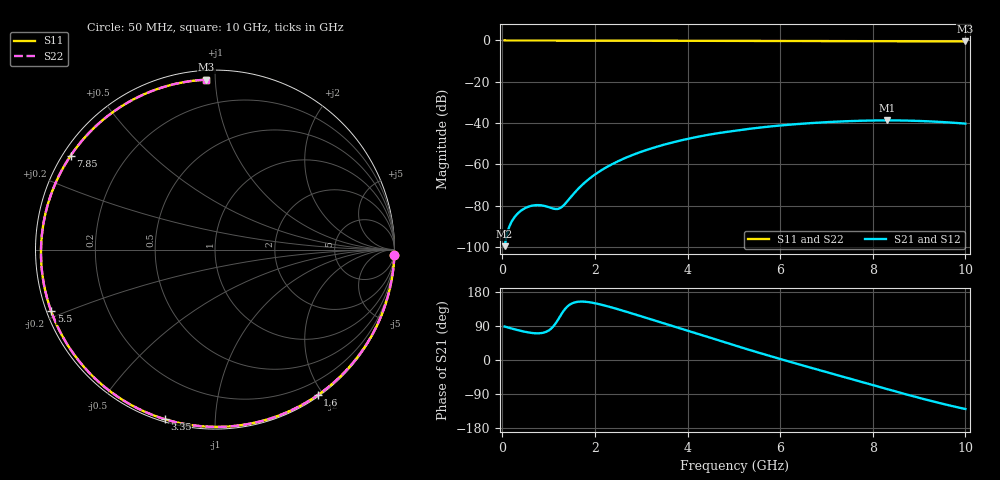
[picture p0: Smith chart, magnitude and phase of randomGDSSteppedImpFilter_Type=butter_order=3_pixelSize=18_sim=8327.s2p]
! freq	dB(S11)	phase(S11)	dB(S12)	phase(S12)
!  dB(S21)	phase(S21)	dB(S22)	phase(S22)
!S-par simulation data
#  GHz  S  DB  R 50
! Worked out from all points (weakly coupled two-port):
!   200 points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, 50 MHz to 10 GHz, reference 50 ohm
!   highest |S21| = -38.74 dB at 8.3 GHz (marker M1); lowest = -99.7 dB at 50 MHz (marker M2)
!   lowest |S11| = -0.5 dB at 10 GHz (marker M3), VSWR 37.43, Z = 2.54 + j47.4 ohm
!   |S11| at or under -10 dB: nowhere
!   |S22| runs from -0.5 to 0.0 dB; largest |S21 - S12| = 0
!   S11 on the Smith chart (normalised r, x): 50 MHz: 0, -64; 1.6 GHz: 0.02, -1.93; 3.35 GHz: 0.01, -0.75; 5.5 GHz: 0.01, -0.18; 7.85 GHz: 0.02, +0.30; 10 GHz: 0.05, +0.95
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0.05  -0.00 -1.8  -99.70 88.3  -99.70 88.3  -0.00 -1.8
0.65  -0.03 -22.9  -80.04 71.2  -80.04 71.2  -0.03 -22.9
1.3  -0.06 -45.0  -80.43 125.5  -80.43 125.5  -0.06 -45.0
1.35  -0.06 -46.7  -79.33 133.9  -79.33 133.9  -0.06 -46.7
1.6  -0.07 -54.8  -72.83 153.0  -72.83 153.0  -0.07 -54.8
1.75  -0.07 -59.7  -69.48 154.1  -69.48 154.1  -0.07 -59.7
2.05  -0.08 -69.1  -64.21 148.5  -64.21 148.5  -0.08 -69.1
2.4  -0.09 -79.7  -59.62 137.4  -59.62 137.4  -0.09 -79.7
2.85  -0.11 -92.8  -55.18 121.0  -55.18 121.0  -0.11 -92.8
3.35  -0.13 -106.6  -51.42 102.0  -51.42 102.0  -0.13 -106.6
3.4  -0.13 -107.9  -51.10 100.1  -51.10 100.1  -0.13 -107.9
4.25  -0.16 -129.8  -46.55 67.7  -46.55 67.7  -0.16 -129.8
5.05  -0.20 -149.0  -43.69 37.4  -43.69 37.4  -0.20 -149.0
5.5  -0.22 -159.4  -42.37 20.6  -42.37 20.6  -0.22 -159.4
6.1  -0.25 -173.1  -41.02 -0.8  -41.02 -0.8  -0.25 -173.1
6.7  -0.29 173.3  -40.00 -21.6  -40.00 -21.6  -0.29 173.3
7.25  -0.32 160.8  -39.32 -40.5  -39.32 -40.5  -0.32 160.8
7.85  -0.36 146.9  -38.86 -61.1  -38.86 -61.1  -0.36 146.9
8.3  -0.39 136.2  -38.74 -76.5  -38.74 -76.5  -0.39 136.2
8.35  -0.39 135.0  -38.74 -78.2  -38.74 -78.2  -0.39 135.0
9.2  -0.43 113.9  -39.19 -106.2  -39.19 -106.2  -0.43 114.0
10  -0.46 93.0  -40.29 -129.4  -40.29 -129.4  -0.46 93.0
